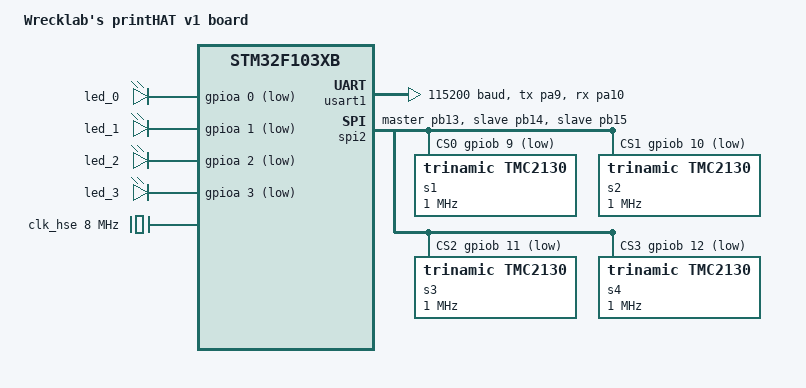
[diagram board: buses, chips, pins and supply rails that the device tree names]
/*
 * Copyright (c) 2022, Stefano Cottafavi <stefano.cottafavi@gmail.com>
 *
 * SPDX-License-Identifier: Apache-2.0
 */

/dts-v1/;
#include <st/f1/stm32f103Xb.dtsi>
#include <st/f1/stm32f103r(8-b)tx-pinctrl.dtsi>

/ {
	model = "Wrecklab's printHAT v1 board";
	compatible = "wrecklab,printhat1";

	chosen {
		zephyr,console = &usart1;
		zephyr,shell-uart = &usart1;
		zephyr,sram = &sram0;
		zephyr,flash = &flash0;
	};

	leds {
		compatible = "gpio-leds";
		led_0: led_0 {
			gpios = <&gpioa 0 (GPIO_ACTIVE_LOW | GPIO_PULL_UP)>;
		};
		led_1: led_1 {
			gpios = <&gpioa 1 (GPIO_ACTIVE_LOW | GPIO_PULL_UP)>;
		};
		led_2: led_2 {
			gpios = <&gpioa 2 (GPIO_ACTIVE_LOW | GPIO_PULL_UP)>;
		};
		led_3: led_3 {
			gpios = <&gpioa 3 (GPIO_ACTIVE_LOW | GPIO_PULL_UP)>;
		};
	};

	// TODO:
	// other GPIO cwired are all pins from PC0-PC5,PC9-10 incl.
	// create a limit switch driver?

	aliases {
		h0 = &led_0;
		h1 = &led_1;
		f0 = &led_2;
		f1 = &led_3;
	};
};

&clk_hse {
	clock-frequency = <DT_FREQ_M(8)>;
	status = "okay";
};

&pll {
	mul = <9>;
	clocks = <&clk_hse>;
	status = "okay";
};

&rcc {
	clocks = <&pll>;
	clock-frequency = <DT_FREQ_M(72)>;
	ahb-prescaler = <1>;
	apb1-prescaler = <2>;
	apb2-prescaler = <1>;
};

// USART1 tx: PA9 rx: PA10     --- to/from RPi
&usart1 {
	pinctrl-0 = <&usart1_tx_pa9 &usart1_rx_pa10>;
	pinctrl-names = "default";
	current-speed = <115200>;
	status = "okay";
};

&spi2 {
	status = "okay";
	// TODO: check order is correct
	pinctrl-0 = <&spi2_sck_master_pb13 &spi2_miso_slave_pb14 &spi2_mosi_slave_pb15>;
	pinctrl-names = "default";

	cs-gpios = 	<&gpiob 9 (GPIO_ACTIVE_LOW | GPIO_PULL_UP)>,
				<&gpiob 10 (GPIO_ACTIVE_LOW | GPIO_PULL_UP)>,
				<&gpiob 11 (GPIO_ACTIVE_LOW | GPIO_PULL_UP)>,
				<&gpiob 12 (GPIO_ACTIVE_LOW | GPIO_PULL_UP)>;

	s1: tmc2130_1@0 {
		reg = <0>;
		compatible = "trinamic,tmc2130";
		// 4MHz internal, 8MHz external clock
		// TODO: seems not to work for higher speed than 1MHz
		spi-max-frequency = <1000000>;
		status = "okay";

		// step_pin = <&gpioa 5 GPIO_ACTIVE_HIIGH>
		// dir_pin = <&gpioa 6 GPIO_ACTIVE_HIGH>

		// diag0_pin = <&gpiob 5 (GPIO_ACTIVE_LOW | GPIO_PULL_UP)>
		// en_pin = <&gpioa 4 (GPIO_ACTIVE_LOW | GPIO_PULL_UP)>
	};
	s2: tmc2130_2@1 {
		reg = <1>;
		compatible = "trinamic,tmc2130";
		spi-max-frequency = <1000000>;
		status = "okay";

		// step_pin = <&gpioa 12 GPIO_ACTIVE_HIIGH>
		// dir_pin = <&gpioa 15 GPIO_ACTIVE_HIGH>

		// diag0_pin = <&gpiob 6 (GPIO_ACTIVE_LOW)>
		// en_pin = <&gpioa 11 (GPIO_ACTIVE_LOW | GPIO_PULL_UP)>
	};
	s3: tmc2130_3@2 {
		reg = <2>;
		compatible = "trinamic,tmc2130";
		spi-max-frequency = <1000000>;
		status = "okay";

		// step_pin = <&gpioc 7 GPIO_ACTIVE_HIIGH>
		// dir_pin = <&gpioc 8 GPIO_ACTIVE_HIGH>

		// diag0_pin = <&gpiob 7 (GPIO_ACTIVE_LOW | GPIO_PULL_UP)>
		// en_pin = <&gpioc 6 (GPIO_ACTIVE_LOW | GPIO_PULL_UP)>
	};
	s4: tmc2130_4@3 {
		reg = <3>;
		compatible = "trinamic,tmc2130";
		spi-max-frequency = <1000000>;
		status = "okay";

		// step_pin = <&gpioc 14 GPIO_ACTIVE_HIIGH>
		// dir_pin = <&gpioc 15 GPIO_ACTIVE_HIGH>

		// diag0_pin = <&gpiob 8 (GPIO_ACTIVE_LOW | GPIO_PULL_UP)>
		// en_pin = <&gpioc 13 (GPIO_ACTIVE_LOW | GPIO_PULL_UP)>

	};
};

/*&timers2 {
	status = "okay";

	pwm2: pwm {
		status = "okay";
		pinctrl-0 = <&tim2_ch1_pa5>;
		pinctrl-names = "default";
	};
};*/

/*&adc1 {
	pinctrl-0 = <&adc1_in0_pa0>;
	pinctrl-names = "default";
	status = "okay";
};*/

&flash0 {
	partitions {
		compatible = "fixed-partitions";
		#address-cells = <1>;
		#size-cells = <1>;

		/* Set 2KB of storage at the end of 128KB flash */
		storage_partition: partition@1f800 {
			label = "storage";
			reg = <0x0001f800 DT_SIZE_K(2)>;
		};
	};
};
